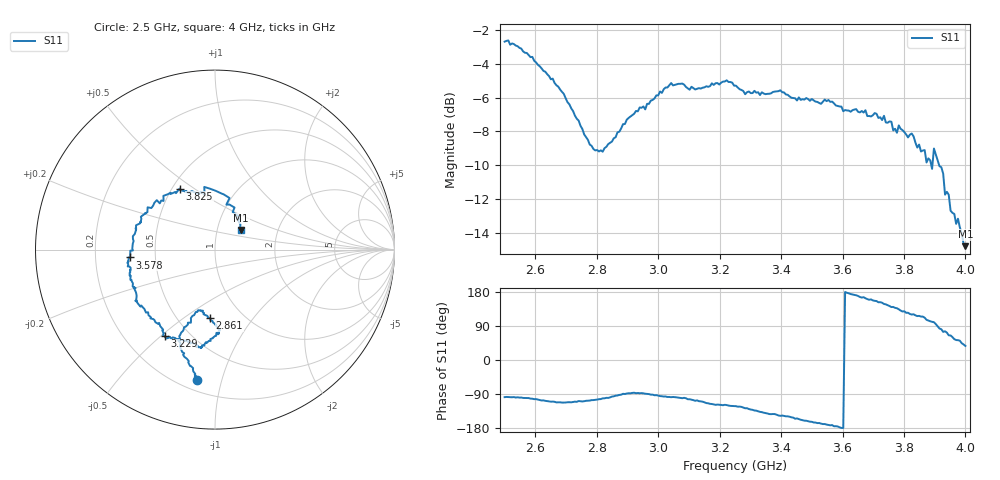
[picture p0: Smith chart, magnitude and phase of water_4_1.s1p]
# MHz S MA R 50
!  freq  S11
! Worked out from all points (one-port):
!   250 points, 2.5 GHz to 4 GHz, reference 50 ohm
!   lowest |S11| = -14.8 dB at 4 GHz (marker M1), VSWR 1.44, Z = 65.1 + j14.8 ohm
!   |S11| at or under -10 dB: 3.888931 GHz to 3.892669 GHz (3.738 MHz wide, 0.0961 % of centre); 3.915 GHz to end of sweep
!   S11 on the Smith chart (normalised r, x): 2.5 GHz: 0.26, -0.83; 2.861 GHz: 0.71, -0.64; 3.229 GHz: 0.37, -0.52; 3.578 GHz: 0.36, -0.04; 3.825 GHz: 0.55, +0.44; 4 GHz: 1.30, +0.30
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2500  0.7358 -98.0
2590.361  0.663 -102.1
2692.771  0.5147 -112.2
2789.157  0.3532 -105.8
2861.446  0.3828 -94.1
2879.518  0.4067 -91.5
2945.783  0.4682 -87.3
3066.265  0.5514 -99.3
3186.747  0.5537 -118.3
3228.916  0.5585 -120.2
3253.012  0.5446 -121.9
3397.59  0.5276 -147.3
3439.759  0.5003 -152.1
3578.313  0.4756 -174.8
3626.506  0.4557 174.0
3710.843  0.4492 155.5
3759.036  0.4256 139.7
3813.253  0.3823 124.7
3825.301  0.3926 120.0
3861.446  0.3496 114.5
3891.566  0.3083 100.8
3897.59  0.3544 99.8
3927.711  0.2984 74.2
3933.735  0.2585 75.8
3945.783  0.2583 65.1
3951.807  0.2316 64.8
3975.904  0.2193 52.3
4000  0.1818 37.1
